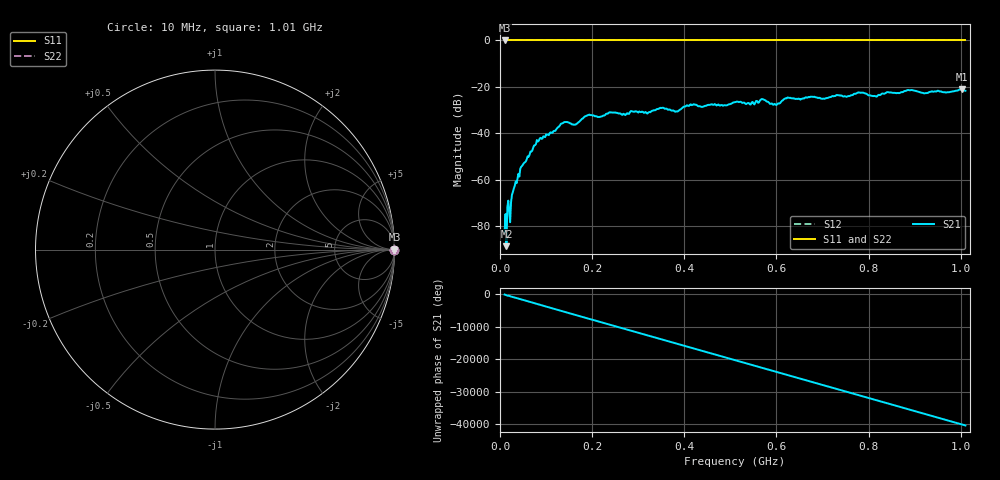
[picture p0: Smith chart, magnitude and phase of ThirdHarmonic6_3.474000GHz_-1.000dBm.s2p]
! 8/17/2025 11:16:55 AM
! C:\ANRITSUVNA\TEMP\TEMP.S2P
! CHANNEL.1
! TR.MEASUREMENT
! RAW.DATA
! RF.CORRECTION.OFF
! AVERAGING.OFF
! IF.BANDWIDTH: 5KHZ
! SWEEPTYPE:  FREQ.SWEEP(Linear)
! Reference Plane Port Info
! PORT:  PORT1  PORT2
! DISTANCE:  0  m  0  m
! TIME:  0  s  0  s
! PHASE.OFFSET:  0  deg.  0  deg.
! LOSS:  0  dB  0  dB
! REF.LOSS:  0  dB  0  dB
! REF.FREQ:  0  Hz  0  Hz
! Power Info
! POWER:  -20  dBm  -20  dBm
! EFF.POWER:  -20  dBm  -20  dBm
! SOURCE.ATTEN:  0  dB  0  dB
! TEST.ATTEN:  0  dB  0  dB
# GHZ S RI R 50.0
! FREQ.GHZ  S11RE  S11IM  S21RE  S21IM  S12RE  S12IM  S22RE  S22IM
!; PortSelection: Port_12
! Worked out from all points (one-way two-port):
!   501 points, 10 MHz to 1.01 GHz, reference 50 ohm
!   highest |S21| = -21.04 dB at 1.002 GHz (marker M1); lowest = -88.5 dB at 14 MHz (marker M2)
!   lowest |S11| = 0.0 dB at 10 MHz (marker M3)
!   |S11| at or under -10 dB: nowhere
!   |S22| runs from 0.0 to 0.0 dB; largest |S21 - S12| = 1.1
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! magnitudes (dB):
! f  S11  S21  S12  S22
! 10 MHz  0.0  -82.7  0.0  0.0
! 14 MHz  0.0  -88.5  0.0  0.0
! 18 MHz  0.0  -68.9  0.0  0.0
! 24 MHz  0.0  -69.5  0.0  0.0
! 30 MHz  0.0  -63.7  0.0  0.0
! 48 MHz  0.0  -54.0  0.0  0.0
! 78 MHz  0.0  -44.6  0.0  0.0
! 136 MHz  0.0  -35.6  0.0  0.0
! 162 MHz  0.0  -36.2  0.0  0.0
! 178 MHz  0.0  -33.7  0.0  0.0
! 344 MHz  0.0  -29.4  0.0  0.0
! 384 MHz  0.0  -30.5  0.0  0.0
! 416 MHz  0.0  -27.8  0.0  0.0
! 510 MHz  0.0  -26.6  0.0  0.0
! 570 MHz  0.0  -25.3  0.0  0.0
! 596 MHz  0.0  -27.3  0.0  0.0
! 622 MHz  0.0  -24.9  0.0  0.0
! 678 MHz  0.0  -24.2  0.0  0.0
! 814 MHz  0.0  -23.9  0.0  0.0
! 844 MHz  0.0  -22.3  0.0  0.0
! 1.002 GHz  0.0  -21.0  0.0  0.0
! 1.01 GHz  0.0  -21.6  0.0  0.0
